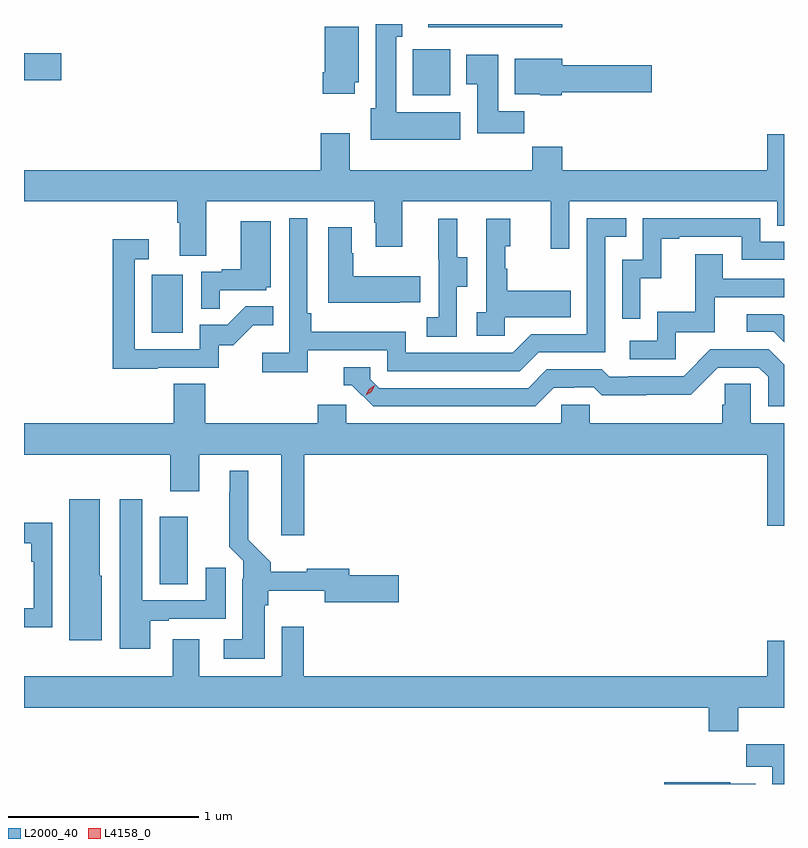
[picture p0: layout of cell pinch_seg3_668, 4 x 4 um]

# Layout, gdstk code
import gdstk
lib = gdstk.Library(unit=1e-6, precision=1e-09)
def R(c, l, rs):  # rectangles x0, y0, x1, y1
    for r in rs: c.add(gdstk.rectangle(r[:2], r[2:], *l))
def P(c, l, *ps):  # polygons
    for p in ps: c.add(gdstk.Polygon(p, *l))
L2000_40 = (2000, 40)
L4158_0 = (4158, 0)

pinch_seg3_668 = lib.new_cell('pinch_seg3_668')
R(pinch_seg3_668, L2000_40, [(1132.838,678.922,1132.987,679.276), (1132.796,680.244,1132.96,680.551), (1134.17,681.494,1134.367,681.736), (1132.124,681.574,1132.321,681.716), (1134.251,681.854,1134.956,681.87)])
P(pinch_seg3_668, L2000_40, [(1134.421,681.406),(1134.082,681.406),(1134.082,681.803),(1134.115,681.803),(1134.115,681.87),(1133.975,681.87),(1133.975,681.426),(1133.948,681.426),(1133.948,681.26),(1134.421,681.26)],
  [(1133.866,681.564),(1133.887,681.564),(1133.887,681.856),(1133.708,681.856),(1133.708,681.616),(1133.696,681.616),(1133.696,681.504),(1133.866,681.504)],
  [(1134.758,681.412),(1134.619,681.412),(1134.619,681.709),(1134.452,681.709),(1134.452,681.553),(1134.509,681.553),(1134.509,681.294),(1134.758,681.294)],
  [(1134.954,681.511),(1135.429,681.511),(1135.429,681.653),(1134.958,681.653),(1134.958,681.688),(1134.707,681.688),(1134.707,681.5),(1134.84,681.5),(1134.84,681.494),(1134.954,681.494)],
  [(1133.083,680.936),(1133.968,680.936),(1133.968,680.825),(1133.975,680.825),(1133.975,680.697),(1134.115,680.697),(1134.115,680.936),(1134.896,680.936),(1134.896,680.688),(1134.993,680.688),(1134.993,680.936),(1136.088,680.936),(1136.088,680.809),(1136.124,680.809),(1136.124,681.289),(1136.036,681.289),(1136.036,681.1),(1134.956,681.1),(1134.956,681.224),(1134.799,681.224),(1134.799,681.1),(1133.839,681.1),(1133.839,681.295),(1133.687,681.295),(1133.687,681.1),(1132.124,681.1),(1132.124,680.936),(1132.931,680.936),(1132.931,680.824),(1132.943,680.824),(1132.943,680.65),(1133.083,680.65)],
  [(1133.618,680.154),(1134.036,680.154),(1134.036,680.043),(1134.733,680.043),(1134.832,680.142),(1135.182,680.142),(1135.182,680.751),(1135.295,680.751),(1135.295,680.847),(1135.086,680.847),(1135.086,680.238),(1134.795,680.238),(1134.696,680.139),(1134.132,680.139),(1134.132,680.251),(1133.636,680.251),(1133.636,680.347),(1133.616,680.347),(1133.616,680.848),(1133.52,680.848),(1133.52,680.14),(1133.379,680.14),(1133.379,680.038),(1133.618,680.038)],
  [(1135.368,680.531),(1135.478,680.531),(1135.478,680.739),(1135.573,680.739),(1135.573,680.751),(1135.902,680.751),(1135.902,680.628),(1136.124,680.628),(1136.124,680.724),(1135.998,680.724),(1135.998,680.847),(1135.38,680.847),(1135.38,680.628),(1135.272,680.628),(1135.272,680.319),(1135.368,680.319)],
  [(1134.654,680.327),(1135.001,680.327),(1135.001,680.467),(1134.667,680.467),(1134.667,680.582),(1134.657,680.582),(1134.657,680.7),(1134.682,680.7),(1134.682,680.845),(1134.558,680.845),(1134.558,680.354),(1134.507,680.354),(1134.507,680.229),(1134.654,680.229)],
  [(1134.402,680.488),(1134.457,680.488),(1134.457,680.643),(1134.403,680.643),(1134.403,680.845),(1134.305,680.845),(1134.305,680.631),(1134.306,680.631),(1134.306,680.327),(1134.243,680.327),(1134.243,680.224),(1134.402,680.224)],
  [(1133.153,680.469),(1133.4,680.469),(1133.4,680.484),(1133.422,680.484),(1133.422,680.833),(1133.264,680.833),(1133.264,680.578),(1133.165,680.578),(1133.165,680.565),(1133.058,680.565),(1133.058,680.371),(1133.153,680.371)],
  [(1134.101,680.405),(1134.209,680.405),(1134.209,680.542),(1133.856,680.542),(1133.856,680.663),(1133.848,680.663),(1133.848,680.8),(1133.726,680.8),(1133.726,680.402),(1134.101,680.402)],
  [(1132.829,680.061),(1133.148,680.061),(1133.148,680.178),(1133.224,680.178),(1133.331,680.285),(1133.435,680.285),(1133.435,680.384),(1133.291,680.384),(1133.193,680.286),(1133.049,680.286),(1133.049,680.157),(1132.707,680.157),(1132.707,680.631),(1132.78,680.631),(1132.78,680.737),(1132.591,680.737),(1132.591,680.056),(1132.829,680.056)],
  [(1135.554,680.247),(1135.759,680.247),(1135.759,680.433),(1136.124,680.433),(1136.124,680.529),(1135.801,680.529),(1135.801,680.659),(1135.657,680.659),(1135.657,680.356),(1135.458,680.356),(1135.458,680.202),(1135.311,680.202),(1135.311,680.106),(1135.554,680.106)],
  [(1136.124,680.335),(1136.116,680.343),(1135.929,680.343),(1135.929,680.25),(1136.07,680.25),(1136.124,680.196)],
  [(1134.913,679.956),(1135.02,679.956),(1135.02,679.959),(1135.123,679.959),(1135.165,679.917),(1135.398,679.917),(1135.398,679.919),(1135.634,679.919),(1135.776,680.061),(1135.992,680.061),(1136.04,680.013),(1136.04,679.857),(1136.124,679.857),(1136.124,680.076),(1136.043,680.157),(1135.737,680.157),(1135.596,680.016),(1135.303,680.016),(1135.303,680.013),(1135.204,680.013),(1135.165,680.052),(1134.876,680.052),(1134.777,679.953),(1133.994,679.953),(1133.946,680.001),(1133.946,680.064),(1133.807,680.064),(1133.807,679.968),(1133.85,679.968),(1133.961,679.857),(1134.814,679.857)],
  [(1133.6,679.604),(1136.036,679.604),(1136.036,679.23),(1136.124,679.23),(1136.124,679.768),(1135.95,679.768),(1135.95,679.976),(1135.813,679.976),(1135.813,679.866),(1135.799,679.866),(1135.799,679.768),(1135.101,679.768),(1135.101,679.866),(1134.951,679.866),(1134.951,679.768),(1133.82,679.768),(1133.82,679.866),(1133.669,679.866),(1133.669,679.768),(1133.078,679.768),(1133.078,679.976),(1132.913,679.976),(1132.913,679.768),(1132.124,679.768),(1132.124,679.604),(1132.895,679.604),(1132.895,679.41),(1133.047,679.41),(1133.047,679.604),(1133.477,679.604),(1133.477,679.179),(1133.6,679.179)],
  [(1133.392,678.81),(1133.41,678.81),(1133.41,678.887),(1133.708,678.887),(1133.708,678.826),(1134.097,678.826),(1134.097,678.968),(1133.836,678.968),(1133.836,679.004),(1133.612,679.004),(1133.612,678.986),(1133.423,678.986),(1133.423,679.038),(1133.305,679.156),(1133.305,679.519),(1133.207,679.519),(1133.207,679.409),(1133.203,679.409),(1133.203,679.118),(1133.277,679.044),(1133.277,678.95),(1133.273,678.95),(1133.273,678.631),(1133.175,678.631),(1133.175,678.53),(1133.392,678.53)],
  [(1132.789,678.729),(1132.885,678.729),(1132.885,678.741),(1133.185,678.741),(1133.185,679.009),(1133.081,679.009),(1133.081,678.837),(1132.747,678.837),(1132.747,679.369),(1132.628,679.369),(1132.628,678.582),(1132.789,678.582)],
  [(1132.534,678.966),(1132.522,678.966),(1132.522,679.369),(1132.361,679.369),(1132.361,678.626),(1132.534,678.626)],
  [(1132.272,679.246),(1132.124,679.246),(1132.124,679.136),(1132.163,679.136),(1132.163,679.04),(1132.176,679.04),(1132.176,678.795),(1132.124,678.795),(1132.124,678.694),(1132.272,678.694)],
  [(1135.883,678.272),(1136.124,678.272),(1136.124,678.625),(1136.036,678.625),(1136.036,678.436),(1133.597,678.436),(1133.597,678.697),(1133.481,678.697),(1133.481,678.436),(1133.047,678.436),(1133.047,678.631),(1132.907,678.631),(1132.907,678.436),(1132.124,678.436),(1132.124,678.272),(1135.727,678.272),(1135.727,678.148),(1135.883,678.148)],
  [(1136.124,678.078),(1135.924,678.078),(1135.924,677.96),(1136.063,677.96),(1136.063,677.87),(1136.124,677.87)],
  [(1135.975,677.872),(1135.842,677.872),(1135.842,677.878),(1135.494,677.878),(1135.494,677.87),(1135.975,677.87)])
P(pinch_seg3_668, L4158_0, [(1133.922,679.915),(1133.922,679.916),(1133.938,679.948),(1133.97,679.968),(1133.97,679.968),(1133.97,679.967),(1133.953,679.935),(1133.922,679.915)])

lib.write_gds('pinch_seg3_668.gds')
